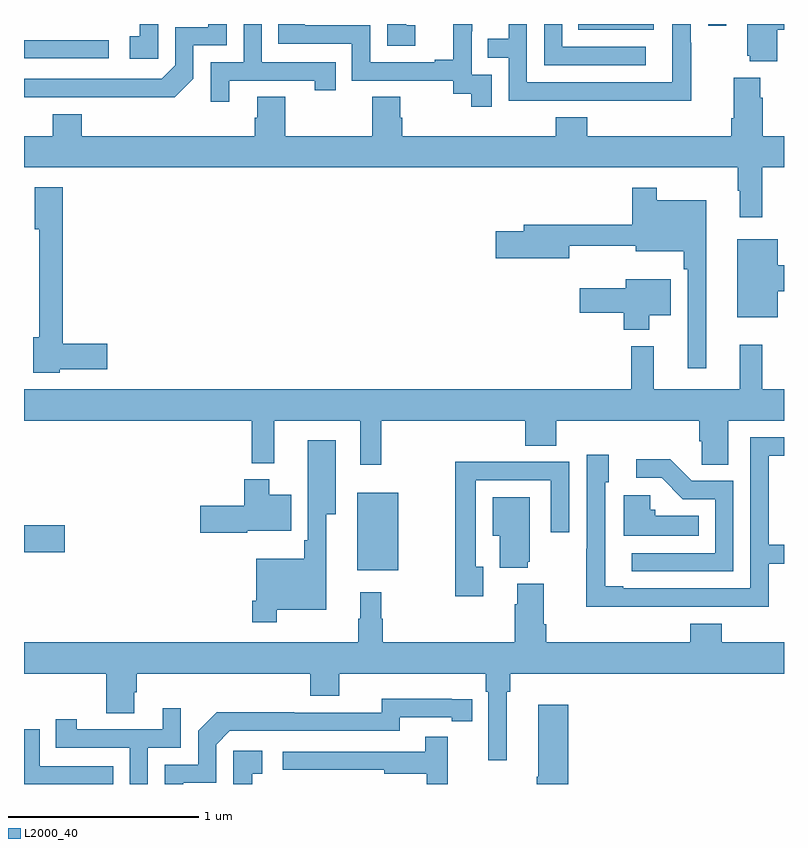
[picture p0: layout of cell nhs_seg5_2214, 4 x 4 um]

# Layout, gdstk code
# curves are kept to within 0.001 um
import gdstk
lib = gdstk.Library(unit=1e-6, precision=1e-09)
def R(c, l, rs):  # rectangles x0, y0, x1, y1
    for r in rs: c.add(gdstk.rectangle(r[:2], r[2:], *l))
def P(c, l, *ps):  # polygons
    for p in ps: c.add(gdstk.Polygon(p, *l))
L2000_40 = (2000, 40)

nhs_seg5_2214 = lib.new_cell('nhs_seg5_2214')
R(nhs_seg5_2214, L2000_40, [(240.755,903.923,240.97,904.333), (239,904.018,239.215,904.16), (239,906.618,239.446,906.714), (241.918,906.77,242.314,906.799), (242.601,906.789,242.697,906.799)])
P(nhs_seg5_2214, L2000_40, [(241.06,906.793),(241.011,906.793),(241.011,906.799),(240.912,906.799),(240.912,906.684),(241.06,906.684)],
  [(240.079,906.501),(240.53,906.501),(240.53,906.45),(240.641,906.45),(240.641,906.597),(240.252,906.597),(240.252,906.799),(240.156,906.799),(240.156,906.597),(239.982,906.597),(239.982,906.39),(240.079,906.39)],
  [(241.461,906.531),(241.356,906.531),(241.356,906.761),(241.358,906.761),(241.358,906.799),(241.259,906.799),(241.259,906.61),(241.163,906.61),(241.163,906.597),(240.822,906.597),(240.822,906.792),(240.477,906.792),(240.477,906.799),(240.337,906.799),(240.337,906.696),(240.726,906.696),(240.726,906.501),(241.26,906.501),(241.26,906.433),(241.353,906.433),(241.353,906.363),(241.461,906.363)],
  [(239.892,906.51),(239.892,906.687),(240.066,906.687),(240.066,906.799),(239.969,906.799),(239.969,906.783),(239.796,906.783),(239.796,906.582),(239.724,906.51),(239,906.51),(239,906.414),(239.794,906.413)],
  [(242.511,906.701),(242.508,906.701),(242.508,906.799),(242.412,906.799),(242.412,906.71),(242.411,906.71),(242.411,906.492),(241.647,906.492),(241.647,906.799),(241.551,906.799),(241.551,906.722),(241.441,906.722),(241.441,906.621),(241.551,906.621),(241.551,906.396),(242.047,906.396),(242.047,906.395),(242.511,906.395)],
  [(242.272,906.678),(241.833,906.678),(241.833,906.799),(241.737,906.799),(241.737,906.582),(242.272,906.582)],
  [(242.965,906.77),(243,906.77),(243,906.799),(242.807,906.799),(242.807,906.633),(242.819,906.633),(242.819,906.602),(242.965,906.602)],
  [(239.706,906.799),(239.609,906.799),(239.609,906.735),(239.556,906.735),(239.556,906.615),(239.706,906.615)],
  [(240.979,906.306),(240.979,906.416),(240.832,906.416),(240.832,906.208),(240.375,906.208),(240.375,906.416),(240.227,906.416),(240.227,906.306),(240.215,906.306),(240.215,906.208),(239.303,906.208),(239.303,906.325),(239.15,906.325),(239.15,906.208),(239,906.208),(239,906.044),(242.757,906.044),(242.757,905.921),(242.768,905.921),(242.768,905.781),(242.885,905.781),(242.885,906.044),(243,906.044),(243,906.208),(242.888,906.208),(242.888,906.41),(242.875,906.41),(242.875,906.517),(242.735,906.517),(242.735,906.304),(242.723,906.304),(242.723,906.208),(241.964,906.208),(241.964,906.307),(241.799,906.307),(241.799,906.208),(240.992,906.208),(240.992,906.306)],
  [(239.187,904.982),(239.437,904.982),(239.437,905.117),(239.204,905.117),(239.204,905.941),(239.057,905.941),(239.057,905.718),(239.081,905.718),(239.081,905.151),(239.048,905.151),(239.048,904.964),(239.187,904.964)],
  [(242.59,905.872),(242.329,905.872),(242.329,905.938),(242.2,905.938),(242.2,905.743),(241.631,905.743),(241.631,905.709),(241.482,905.709),(241.482,905.567),(241.87,905.567),(241.87,905.632),(242.219,905.632),(242.219,905.603),(242.473,905.603),(242.473,905.507),(242.493,905.507),(242.493,904.986),(242.59,904.986)],
  [(242.968,905.392),(243,905.392),(243,905.528),(242.968,905.528),(242.968,905.665),(242.753,905.665),(242.753,905.255),(242.968,905.255)],
  [(242.29,905.267),(242.404,905.267),(242.404,905.455),(242.168,905.455),(242.168,905.407),(241.926,905.407),(241.926,905.278),(242.156,905.278),(242.156,905.189),(242.29,905.189)],
  [(240.88,904.712),(241.637,904.712),(241.637,904.579),(241.802,904.579),(241.802,904.712),(242.555,904.712),(242.555,904.603),(242.568,904.603),(242.568,904.48),(242.707,904.48),(242.707,904.712),(243,904.712),(243,904.876),(242.885,904.876),(242.885,905.11),(242.768,905.11),(242.768,904.876),(242.315,904.876),(242.315,905.104),(242.197,905.104),(242.197,904.876),(239,904.876),(239,904.712),(240.199,904.712),(240.199,904.487),(240.316,904.487),(240.316,904.712),(240.77,904.712),(240.77,904.479),(240.88,904.479)],
  [(242.423,903.732),(242.919,903.732),(242.919,903.957),(243,903.957),(243,904.058),(242.919,904.058),(242.919,904.527),(243,904.527),(243,904.623),(242.823,904.623),(242.823,903.828),(242.155,903.828),(242.155,903.841),(242.058,903.841),(242.058,904.386),(242.077,904.386),(242.077,904.531),(241.962,904.531),(241.962,904.037),(241.96,904.037),(241.96,903.731),(242.423,903.731)],
  [(240.331,903.716),(240.592,903.716),(240.592,904.22),(240.64,904.22),(240.64,904.609),(240.494,904.609),(240.494,904.081),(240.475,904.081),(240.475,903.985),(240.222,903.985),(240.222,903.763),(240.202,903.763),(240.202,903.651),(240.331,903.651)],
  [(242.733,904.395),(242.514,904.395),(242.401,904.508),(242.223,904.508),(242.223,904.41),(242.357,904.41),(242.468,904.299),(242.637,904.299),(242.637,904.014),(242.199,904.014),(242.199,903.918),(242.733,903.918)],
  [(241.417,903.942),(241.377,903.942),(241.377,904.398),(241.773,904.398),(241.773,904.125),(241.869,904.125),(241.869,904.494),(241.553,904.494),(241.553,904.496),(241.269,904.496),(241.269,903.786),(241.417,903.786)],
  [(240.174,904.133),(240.406,904.133),(240.406,904.321),(240.292,904.321),(240.292,904.402),(240.158,904.402),(240.158,904.263),(239.928,904.263),(239.928,904.121),(240.174,904.121)],
  [(242.552,904.21),(242.322,904.21),(242.322,904.242),(242.295,904.242),(242.295,904.318),(242.156,904.318),(242.156,904.106),(242.552,904.106)],
  [(241.652,903.969),(241.663,903.969),(241.663,904.309),(241.466,904.309),(241.466,904.106),(241.505,904.106),(241.505,903.938),(241.652,903.938)],
  [(241.54,903.284),(241.559,903.284),(241.559,903.38),(243,903.38),(243,903.544),(242.672,903.544),(242.672,903.643),(242.507,903.643),(242.507,903.544),(241.748,903.544),(241.748,903.64),(241.735,903.64),(241.735,903.853),(241.595,903.853),(241.595,903.746),(241.583,903.746),(241.583,903.544),(240.887,903.544),(240.887,903.668),(240.88,903.668),(240.88,903.808),(240.77,903.808),(240.77,903.668),(240.759,903.668),(240.759,903.544),(239,903.544),(239,903.38),(239.434,903.38),(239.434,903.172),(239.581,903.172),(239.581,903.282),(239.594,903.282),(239.594,903.38),(240.506,903.38),(240.506,903.263),(240.658,903.263),(240.658,903.38),(241.43,903.38),(241.43,903.284),(241.443,903.284),(241.443,902.925),(241.54,902.925)],
  [(239.839,902.805),(240.012,902.805),(240.012,903.006),(240.084,903.078),(240.978,903.078),(240.978,903.15),(241.25,903.15),(241.25,903.13),(241.358,903.13),(241.358,903.246),(240.882,903.247),(240.882,903.174),(240.422,903.174),(240.422,903.176),(240.014,903.176),(239.916,903.078),(239.916,902.901),(239.742,902.901),(239.742,902.799),(239.839,902.799)],
  [(241.865,903.217),(241.706,903.217),(241.706,902.837),(241.699,902.837),(241.699,902.799),(241.865,902.799)],
  [(239.652,902.991),(239.826,902.991),(239.826,903.199),(239.729,903.199),(239.729,903.087),(239.278,903.087),(239.278,903.139),(239.167,903.139),(239.167,902.991),(239.556,902.991),(239.556,902.799),(239.652,902.799)],
  [(239.471,902.892),(239.082,902.892),(239.082,903.087),(239,903.087),(239,902.799),(239.471,902.799)],
  [(241.229,903.049),(241.111,903.049),(241.111,902.97),(240.363,902.97),(240.363,902.874),(240.895,902.874),(240.895,902.854),(241.119,902.854),(241.119,902.799),(241.229,902.799)],
  [(240.2,902.853),(240.253,902.853),(240.253,902.974),(240.102,902.974),(240.102,902.799),(240.2,902.799)])

lib.write_gds('nhs_seg5_2214.gds')
